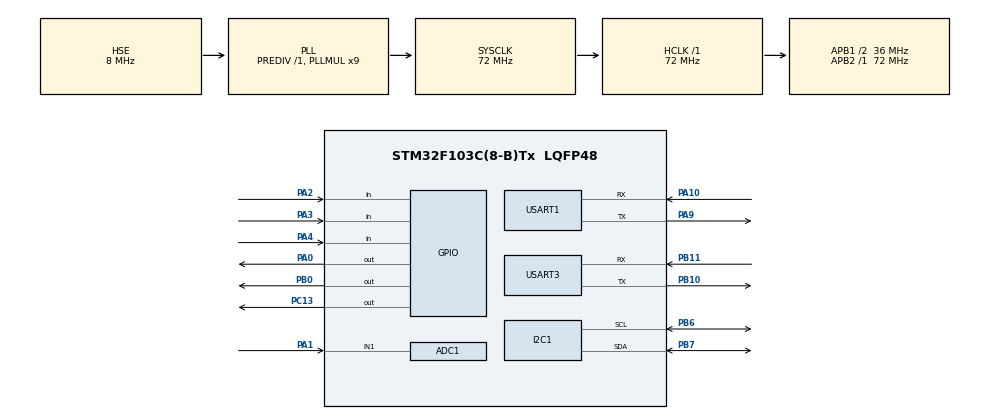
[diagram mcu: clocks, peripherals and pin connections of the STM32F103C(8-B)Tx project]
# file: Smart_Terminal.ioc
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ADC1.Channel-0\#ChannelRegularConversion=ADC_CHANNEL_1
ADC1.NbrOfConversionFlag=1
ADC1.Rank-0\#ChannelRegularConversion=1
ADC1.SamplingTime-0\#ChannelRegularConversion=ADC_SAMPLETIME_1CYCLE_5
ADC1.master=1
Mcu.Family=STM32F1
Mcu.Name=STM32F103C(8-B)Tx
Mcu.Package=LQFP48
NVIC.PriorityGroup=NVIC_PRIORITYGROUP_4
NVIC.USART1_IRQn=true\:0\:0\:false\:false\:true\:true\:true\:true
NVIC.USART3_IRQn=true\:0\:0\:false\:false\:true\:true\:true\:true
PA0-WKUP.Signal=GPIO_Output
PA1.Signal=ADCx_IN1
PA10.Mode=Asynchronous
PA10.Signal=USART1_RX
PA13.Mode=Serial_Wire
PA13.Signal=SYS_JTMS-SWDIO
PA14.Mode=Serial_Wire
PA14.Signal=SYS_JTCK-SWCLK
PA2.GPIO_PuPd=GPIO_PULLUP
PA2.Signal=GPIO_Input
PA3.GPIO_PuPd=GPIO_PULLUP
PA3.Signal=GPIO_Input
PA4.GPIO_PuPd=GPIO_PULLUP
PA4.Signal=GPIO_Input
PA9.Mode=Asynchronous
PA9.Signal=USART1_TX
PB0.Signal=GPIO_Output
PB10.Mode=Asynchronous
PB10.Signal=USART3_TX
PB11.Mode=Asynchronous
PB11.Signal=USART3_RX
PB6.Mode=I2C
PB6.Signal=I2C1_SCL
PB7.Mode=I2C
PB7.Signal=I2C1_SDA
PC13-TAMPER-RTC.Signal=GPIO_Output
PD0-OSC_IN.Mode=HSE-External-Oscillator
PD0-OSC_IN.Signal=RCC_OSC_IN
PD1-OSC_OUT.Mode=HSE-External-Oscillator
PD1-OSC_OUT.Signal=RCC_OSC_OUT
ProjectManager.HeapSize=0x200
ProjectManager.StackSize=0x400
ProjectManager.TargetToolchain=Makefile
RCC.ADCPresc=RCC_ADCPCLK2_DIV6
RCC.AHBFreq_Value=72000000
RCC.APB1CLKDivider=RCC_HCLK_DIV2
RCC.APB1Freq_Value=36000000
RCC.APB1TimFreq_Value=72000000
RCC.APB2Freq_Value=72000000
RCC.APB2TimFreq_Value=72000000
RCC.HCLKFreq_Value=72000000
RCC.PLLMUL=RCC_PLL_MUL9
RCC.PLLSourceVirtual=RCC_PLLSOURCE_HSE
RCC.SYSCLKFreq_VALUE=72000000
RCC.SYSCLKSource=RCC_SYSCLKSOURCE_PLLCLK
RCC.USBFreq_Value=72000000
SH.ADCx_IN1.0=ADC1_IN1,IN1
USART1.VirtualMode=VM_ASYNC
USART3.VirtualMode=VM_ASYNC
board=custom

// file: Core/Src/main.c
/* USER CODE BEGIN Header */
/**
  ******************************************************************************
  * @file           : main.c
  * @brief          : Main program body
  ******************************************************************************
  * @attention
  *
  * Copyright (c) 2026 STMicroelectronics.
  * All rights reserved.
  *
  * This software is licensed under terms that can be found in the LICENSE file
  * in the root directory of this software component.
  * If no LICENSE file comes with this software, it is provided AS-IS.
  *
  ******************************************************************************
  */
/* USER CODE END Header */
#include "main.h"
#include "adc.h"
#include "i2c.h"
#include "usart.h"
#include "gpio.h"

/* USER CODE BEGIN Includes */
#include <stdio.h>
#include "ssd1306_fonts.h"
#include "uart_protocol.h"
#include "app_display.h"
#include "app_sensor.h"
#include "app_key.h"
#include "app_led.h"
#include "app_wifi.h"
/* USER CODE END Includes */

void SystemClock_Config(void);

/* USER CODE BEGIN 0 */
/**
  * @brief  微秒级延时函数（利用 SysTick 实现）
  * @param  us: 要延时的微秒数
  * @retval 无
  */
void delay_us(uint32_t us)
{
    uint32_t ticks;
    uint32_t told, tnow, tcnt = 0;
    uint32_t reload = SysTick->LOAD;           // 获取重装载寄存器的值

    ticks = us * (SystemCoreClock / 1000000);  // 计算需要走多少个时钟周期
    told = SysTick->VAL;                       // 刚进入时的计数器值

    while (1)
    {
        tnow = SysTick->VAL;
        if (tnow != told)
        {
            if (tnow < told)
            {
                tcnt += told - tnow;           // 正常递减计数
            }
            else
            {
                tcnt += reload - tnow + told;  // 发生了重装载翻转
            }
            told = tnow;
            if (tcnt >= ticks)
            {
                break;                         // 时间到了，退出
            }
        }
    }
}
/* USER CODE END 0 */

int main(void)
{

  /* MCU Configuration--------------------------------------------------------*/

  /* Reset of all peripherals, Initializes the Flash interface and the Systick. */
  HAL_Init();

  /* Configure the system clock */
  SystemClock_Config();

  /* Initialize all configured peripherals */
  MX_GPIO_Init();
  MX_ADC1_Init();
  MX_I2C1_Init();
  MX_USART1_UART_Init();
  MX_USART3_UART_Init();
  /* USER CODE BEGIN 2 */
  ssd1306_Init(); // 初始化屏幕
  UART_Protocol_Init();
  App_WiFi_Init(); // 激活 WiFi 状态机
  /* USER CODE END 2 */

  /* Infinite loop */
  /* USER CODE BEGIN WHILE */
  while (1)
  {

    // 应用层任务大阅兵
    UART_Protocol_Process();   // 串口指令任务 (非定时，极速轮询)
    Task_Key_Scan();
    Task_Sensor_Update();      // 传感器任务 (1000ms 轮询)
    Task_Display_Update();     // 屏幕刷新任务 (100ms 轮询)
    Task_Auto_Light();
    Task_WiFi_Connection();

    /* USER CODE END WHILE */

  }
}

void SystemClock_Config(void)
{
  RCC_OscInitTypeDef RCC_OscInitStruct = {0};
  RCC_ClkInitTypeDef RCC_ClkInitStruct = {0};
  RCC_PeriphCLKInitTypeDef PeriphClkInit = {0};

  /** Initializes the RCC Oscillators according to the specified parameters
  * in the RCC_OscInitTypeDef structure.
  */
  RCC_OscInitStruct.OscillatorType = RCC_OSCILLATORTYPE_HSE;
  RCC_OscInitStruct.HSEState = RCC_HSE_ON;
  RCC_OscInitStruct.HSEPredivValue = RCC_HSE_PREDIV_DIV1;
  RCC_OscInitStruct.HSIState = RCC_HSI_ON;
  RCC_OscInitStruct.PLL.PLLState = RCC_PLL_ON;
  RCC_OscInitStruct.PLL.PLLSource = RCC_PLLSOURCE_HSE;
  RCC_OscInitStruct.PLL.PLLMUL = RCC_PLL_MUL9;
  if (HAL_RCC_OscConfig(&RCC_OscInitStruct) != HAL_OK)
  {
    Error_Handler();
  }

  /** Initializes the CPU, AHB and APB buses clocks
  */
  RCC_ClkInitStruct.ClockType = RCC_CLOCKTYPE_HCLK|RCC_CLOCKTYPE_SYSCLK
                              |RCC_CLOCKTYPE_PCLK1|RCC_CLOCKTYPE_PCLK2;
  RCC_ClkInitStruct.SYSCLKSource = RCC_SYSCLKSOURCE_PLLCLK;
  RCC_ClkInitStruct.AHBCLKDivider = RCC_SYSCLK_DIV1;
  RCC_ClkInitStruct.APB1CLKDivider = RCC_HCLK_DIV2;
  RCC_ClkInitStruct.APB2CLKDivider = RCC_HCLK_DIV1;

  if (HAL_RCC_ClockConfig(&RCC_ClkInitStruct, FLASH_LATENCY_2) != HAL_OK)
  {
    Error_Handler();
  }
  PeriphClkInit.PeriphClockSelection = RCC_PERIPHCLK_ADC;
  PeriphClkInit.AdcClockSelection = RCC_ADCPCLK2_DIV6;
  if (HAL_RCCEx_PeriphCLKConfig(&PeriphClkInit) != HAL_OK)
  {
    Error_Handler();
  }
}

/* USER CODE BEGIN 4 */
/**
  * @brief  重写 GCC 编译器标准库的底层输出函数
  * @param  file: 文件描述符（这里用不到）
  * @param  ptr: 准备发送的数据缓冲区的首地址
  * @param  len: 准备发送的数据长度
  * @retval 实际发送的字节数
  */
int _write(int file, char *ptr, int len)
{
    // 调用 HAL 库的轮询发送函数，把数据砸给 USART1
    // HAL_MAX_DELAY 代表死等，直到把这批数据全部发完再退出
    HAL_UART_Transmit(&huart1, (uint8_t *)ptr, len, HAL_MAX_DELAY);
    return len;
}
/* USER CODE END 4 */

void Error_Handler(void)
{
  __disable_irq();
  while (1)
  {
  }
}
